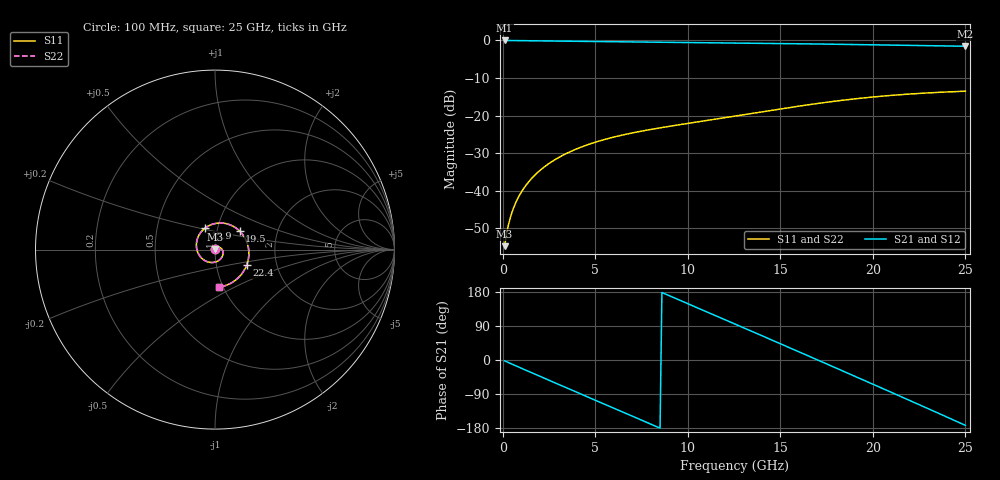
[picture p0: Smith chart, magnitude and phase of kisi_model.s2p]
! kisi B_s8_L1L8_d200: fast channel model (formula impedances, via model), up to 25 GHz
# Hz S RI R 50
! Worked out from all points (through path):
!   250 points, 100 MHz to 25 GHz, reference 50 ohm
!   highest |S21| = -0.02 dB at 100 MHz (marker M1); lowest = -1.6 dB at 25 GHz (marker M2)
!   group delay of S21, straight-line fit = 58.9 ps
!   lowest |S11| = -54.7 dB at 100 MHz (marker M3), VSWR 1.00, Z = 50.2 + j0.106 ohm
!   |S11| at or under -10 dB: start of sweep to end of sweep
!   |S22| runs from -54.7 to -13.5 dB; largest |S21 - S12| = 0
!   S11 on the Smith chart (normalised r, x): 100 MHz: 1.00, +0.00; 15.9 GHz: 0.87, +0.22; 19.5 GHz: 1.28, +0.27; 22.4 GHz: 1.40, -0.25; 25 GHz: 0.95, -0.42
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1e8  0.0015 0.00106  0.9971 -0.0388  0.9971 -0.0388  0.0015 0.00106
3e8  0.00197 0.00286  0.9896 -0.1143  0.9896 -0.1143  0.00197 0.00286
5e8  0.00258 0.0045  0.9768 -0.1882  0.9768 -0.1882  0.00258 0.0045
1.3e9  0.00685 0.0102  0.8734 -0.4647  0.8734 -0.4647  0.00685 0.0102
2.9e9  0.0232 0.0132  0.461 -0.8642  0.461 -0.8642  0.0232 0.0132
4.3e9  0.0386 0.00174  -0.0246 -0.971  -0.0246 -0.971  0.0386 0.00174
5.4e9  0.0446 -0.0161  -0.4018 -0.8774  -0.4018 -0.8774  0.0446 -0.0161
6.6e9  0.0397 -0.0396  -0.7323 -0.618  -0.7323 -0.618  0.0397 -0.0396
8.4e9  0.00746 -0.0677  -0.9473 -0.0383  -0.9473 -0.0383  0.00746 -0.0677
9.3e9  -0.0171 -0.072  -0.9036 0.2696  -0.9036 0.2696  -0.0171 -0.072
1.03e10  -0.0467 -0.066  -0.742 0.5727  -0.742 0.5727  -0.0467 -0.066
1.15e10  -0.0789 -0.0428  -0.4231 0.8286  -0.4231 0.8286  -0.0789 -0.0428
1.26e10  -0.0987 -0.00788  -0.0616 0.9219  -0.0616 0.9219  -0.0987 -0.00788
1.41e10  -0.1002 0.0528  0.4283 0.8083  0.4283 0.8083  -0.1002 0.0528
1.59e10  -0.0536 0.1212  0.8259 0.3654  0.8259 0.3654  -0.0536 0.1212
1.67e10  -0.0168 0.1405  0.8913 0.1068  0.8913 0.1068  -0.0168 0.1405
1.8e10  0.0555 0.1458  0.8299 -0.3173  0.8299 -0.3173  0.0555 0.1458
1.95e10  0.1371 0.1035  0.5272 -0.7013  0.5272 -0.7013  0.1371 0.1035
2.09e10  0.1836 0.0218  0.1027 -0.8606  0.1027 -0.8606  0.1836 0.0218
2.24e10  0.1766 -0.0864  -0.3701 -0.7709  -0.3701 -0.7709  0.1766 -0.0864
2.38e10  0.1114 -0.1724  -0.7012 -0.4706  -0.7012 -0.4706  0.1114 -0.1724
2.5e10  0.022 -0.2099  -0.8281 -0.1098  -0.8281 -0.1098  0.022 -0.2099
